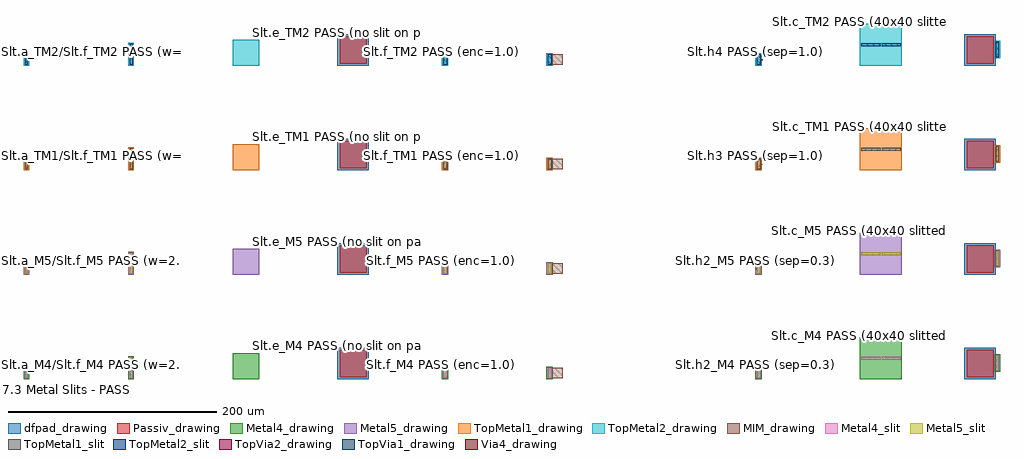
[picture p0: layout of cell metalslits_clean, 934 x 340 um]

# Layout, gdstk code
import gdstk
lib = gdstk.Library(unit=1e-6, precision=1e-09)
def R(c, l, rs):  # rectangles x0, y0, x1, y1
    for r in rs: c.add(gdstk.rectangle(r[:2], r[2:], *l))
def A(c, l, x, y, w, h, nx, ny, dx, dy):  # array of equal rectangles
    R(c, l, [(x+i*dx, y+j*dy, x+i*dx+w, y+j*dy+h) for i in range(nx) for j in range(ny)])
Passiv_drawing = (9, 0)
MIM_drawing = (36, 0)
dfpad_drawing = (41, 0)
Metal4_drawing = (50, 0)
Metal4_slit = (50, 24)
Via4_drawing = (66, 0)
Metal5_drawing = (67, 0)
Metal5_slit = (67, 24)
TopVia1_drawing = (125, 0)
TopMetal1_drawing = (126, 0)
TopMetal1_slit = (126, 24)
TopVia2_drawing = (133, 0)
TopMetal2_drawing = (134, 0)
TopMetal2_slit = (134, 24)

metalslits_clean = lib.new_cell('metalslits_clean')
A(metalslits_clean, Passiv_drawing, 302, 2, 26, 26, 1, 4, 0, 100)
A(metalslits_clean, Passiv_drawing, 902, 2, 26, 26, 1, 4, 0, 100)
A(metalslits_clean, MIM_drawing, 505.6, 1, 10, 10, 1, 4, 0, 100)
A(metalslits_clean, dfpad_drawing, 300, 0, 30, 30, 1, 4, 0, 100)
A(metalslits_clean, dfpad_drawing, 900, 0, 30, 30, 1, 4, 0, 100)
R(metalslits_clean, Metal4_drawing, [(0,0,4.8,12), (100,0,105,22), (200,0,225,25), (400,0,406,12), (500,0,506,12), (700,0,706,12), (800,0,840,40), (929,7,934,24)])
R(metalslits_clean, Metal4_slit, [(1,1,3.8,11), (101,1,104,21), (401,1,405,11), (501,1,505,11), (701,1,705,11), (930,8,933,23), (801,18.5,820,21.5), (821,18.5,839,21.5)])
R(metalslits_clean, Via4_drawing, [(705.3,5,705.49,5.19), (705.3,105,705.49,105.19)])
R(metalslits_clean, Metal5_drawing, [(0,100,4.8,112), (100,100,105,122), (200,100,225,125), (400,100,406,112), (500,100,506,112), (700,100,706,112), (800,100,840,140), (929,107,934,124)])
R(metalslits_clean, Metal5_slit, [(1,101,3.8,111), (101,101,104,121), (401,101,405,111), (501,101,505,111), (701,101,705,111), (930,108,933,123), (801,118.5,820,121.5), (821,118.5,839,121.5)])
R(metalslits_clean, TopVia1_drawing, [(700.28,105,700.7,105.42), (706,205,706.42,205.42)])
R(metalslits_clean, TopMetal1_drawing, [(0,200,4.8,212), (100,200,105,222), (200,200,225,225), (400,200,406,212), (500,200,506,212), (700,200,706,212), (800,200,840,240), (929,207,934,224)])
R(metalslits_clean, TopMetal1_slit, [(1,201,3.8,211), (101,201,104,221), (401,201,405,211), (501,201,505,211), (701,201,705,211), (930,208,933,223), (801,218.5,820,221.5), (821,218.5,839,221.5)])
R(metalslits_clean, TopVia2_drawing, [(706,305,706.9,305.9)])
R(metalslits_clean, TopMetal2_drawing, [(0,300,4.8,312), (100,300,105,322), (200,300,225,325), (400,300,406,312), (500,300,506,312), (700,300,706,312), (800,300,840,340), (929,307,934,324)])
R(metalslits_clean, TopMetal2_slit, [(1,301,3.8,311), (101,301,104,321), (401,301,405,311), (501,301,505,311), (701,301,705,311), (930,308,933,323), (801,318.5,820,321.5), (821,318.5,839,321.5)])
metalslits_clean.add(gdstk.Label('7.3 Metal Slits - PASS', (0,-10), layer=63, texttype=0))
metalslits_clean.add(gdstk.Label('Slt.a_M4/Slt.f_M4 PASS (w=2.8 enc=1.0)', (0,14), layer=63, texttype=0))
metalslits_clean.add(gdstk.Label('Slt.b_M4 PASS (l=20)', (100,24), layer=63, texttype=0))
metalslits_clean.add(gdstk.Label('Slt.c_M4 PASS (25x25 bare)', (200,27), layer=63, texttype=0))
metalslits_clean.add(gdstk.Label('Slt.e_M4 PASS (no slit on pad)', (300,32), layer=63, texttype=0))
metalslits_clean.add(gdstk.Label('Slt.f_M4 PASS (enc=1.0)', (400,14), layer=63, texttype=0))
metalslits_clean.add(gdstk.Label('Slt.e1_M4/g PASS (sep=0.6)', (500,14), layer=63, texttype=0))
metalslits_clean.add(gdstk.Label('Slt.h2_M4 PASS (sep=0.3)', (700,14), layer=63, texttype=0))
metalslits_clean.add(gdstk.Label('Slt.c_M4 PASS (40x40 slitted)', (800,42), layer=63, texttype=0))
metalslits_clean.add(gdstk.Label('Slt.e_M4 PASS (slit abuts pad edge)', (900,32), layer=63, texttype=0))
metalslits_clean.add(gdstk.Label('Slt.a_M5/Slt.f_M5 PASS (w=2.8 enc=1.0)', (0,114), layer=63, texttype=0))
metalslits_clean.add(gdstk.Label('Slt.b_M5 PASS (l=20)', (100,124), layer=63, texttype=0))
metalslits_clean.add(gdstk.Label('Slt.c_M5 PASS (25x25 bare)', (200,127), layer=63, texttype=0))
metalslits_clean.add(gdstk.Label('Slt.e_M5 PASS (no slit on pad)', (300,132), layer=63, texttype=0))
metalslits_clean.add(gdstk.Label('Slt.f_M5 PASS (enc=1.0)', (400,114), layer=63, texttype=0))
metalslits_clean.add(gdstk.Label('Slt.e1_M5/g PASS (sep=0.6)', (500,114), layer=63, texttype=0))
metalslits_clean.add(gdstk.Label('Slt.h2_M5 PASS (sep=0.3)', (700,114), layer=63, texttype=0))
metalslits_clean.add(gdstk.Label('Slt.h2_M5 PASS (TopVia1 sep=0.3)', (690,108), layer=63, texttype=0))
metalslits_clean.add(gdstk.Label('Slt.c_M5 PASS (40x40 slitted)', (800,142), layer=63, texttype=0))
metalslits_clean.add(gdstk.Label('Slt.e_M5 PASS (slit abuts pad edge)', (900,132), layer=63, texttype=0))
metalslits_clean.add(gdstk.Label('Slt.a_TM1/Slt.f_TM1 PASS (w=2.8 enc=1.0)', (0,214), layer=63, texttype=0))
metalslits_clean.add(gdstk.Label('Slt.b_TM1 PASS (l=20)', (100,224), layer=63, texttype=0))
metalslits_clean.add(gdstk.Label('Slt.c_TM1 PASS (25x25 bare)', (200,227), layer=63, texttype=0))
metalslits_clean.add(gdstk.Label('Slt.e_TM1 PASS (no slit on pad)', (300,232), layer=63, texttype=0))
metalslits_clean.add(gdstk.Label('Slt.f_TM1 PASS (enc=1.0)', (400,214), layer=63, texttype=0))
metalslits_clean.add(gdstk.Label('Slt.e1_TM1/g PASS (sep=0.6)', (500,214), layer=63, texttype=0))
metalslits_clean.add(gdstk.Label('Slt.h3 PASS (sep=1.0)', (700,214), layer=63, texttype=0))
metalslits_clean.add(gdstk.Label('Slt.c_TM1 PASS (40x40 slitted)', (800,242), layer=63, texttype=0))
metalslits_clean.add(gdstk.Label('Slt.e_TM1 PASS (slit abuts pad edge)', (900,232), layer=63, texttype=0))
metalslits_clean.add(gdstk.Label('Slt.a_TM2/Slt.f_TM2 PASS (w=2.8 enc=1.0)', (0,314), layer=63, texttype=0))
metalslits_clean.add(gdstk.Label('Slt.b_TM2 PASS (l=20)', (100,324), layer=63, texttype=0))
metalslits_clean.add(gdstk.Label('Slt.c_TM2 PASS (25x25 bare)', (200,327), layer=63, texttype=0))
metalslits_clean.add(gdstk.Label('Slt.e_TM2 PASS (no slit on pad)', (300,332), layer=63, texttype=0))
metalslits_clean.add(gdstk.Label('Slt.f_TM2 PASS (enc=1.0)', (400,314), layer=63, texttype=0))
metalslits_clean.add(gdstk.Label('Slt.e1_TM2/g PASS (sep=0.6)', (500,314), layer=63, texttype=0))
metalslits_clean.add(gdstk.Label('Slt.h4 PASS (sep=1.0)', (700,314), layer=63, texttype=0))
metalslits_clean.add(gdstk.Label('Slt.c_TM2 PASS (40x40 slitted)', (800,342), layer=63, texttype=0))
metalslits_clean.add(gdstk.Label('Slt.e_TM2 PASS (slit abuts pad edge)', (900,332), layer=63, texttype=0))

lib.write_gds('metalslits_clean.gds')
